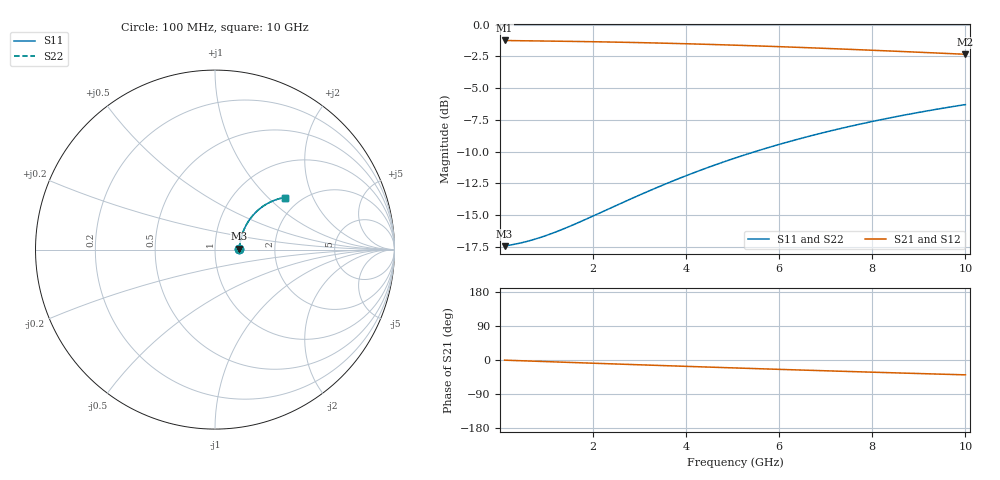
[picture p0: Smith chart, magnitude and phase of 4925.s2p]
# Hz S RI R 50.00
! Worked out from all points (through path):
!   100 points, 100 MHz to 10 GHz, reference 50 ohm
!   highest |S21| = -1.25 dB at 100 MHz (marker M1); lowest = -2.3 dB at 10 GHz (marker M2)
!   group delay of S21, straight-line fit = 10.9 ps
!   lowest |S11| = -17.4 dB at 100 MHz (marker M3), VSWR 1.31, Z = 65.5 + j0.609 ohm
!   |S11| at or under -10 dB: start of sweep to 5.481 GHz
!   |S22| runs from -17.4 to -6.3 dB; largest |S21 - S12| = 0
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1e8  0.1342 0.00457  0.8658 -0.00646  0.8658 -0.00646  0.1342 0.00457
5e8  0.1371 0.0227  0.8628 -0.0321  0.8628 -0.0321  0.1371 0.0227
7e8  0.1386 0.0317  0.8613 -0.0449  0.8613 -0.0449  0.1386 0.0317
9e8  0.1402 0.0406  0.8596 -0.0576  0.8596 -0.0576  0.1402 0.0406
1.1e9  0.142 0.0494  0.8578 -0.0702  0.8578 -0.0702  0.142 0.0494
1.3e9  0.144 0.0582  0.8557 -0.0828  0.8557 -0.0828  0.144 0.0582
1.8e9  0.1499 0.0799  0.8495 -0.1139  0.8495 -0.1139  0.1499 0.0799
2.6e9  0.1623 0.1132  0.8364 -0.1624  0.8364 -0.1624  0.1623 0.1132
3.4e9  0.1782 0.1445  0.8195 -0.2089  0.8195 -0.2089  0.1782 0.1445
3.8e9  0.1873 0.1593  0.8098 -0.2313  0.8098 -0.2313  0.1873 0.1593
4.2e9  0.1972 0.1734  0.7993 -0.253  0.7993 -0.253  0.1972 0.1734
4.6e9  0.2078 0.1867  0.7881 -0.274  0.7881 -0.274  0.2078 0.1867
5.1e9  0.2219 0.2024  0.7731 -0.2993  0.7731 -0.2993  0.2219 0.2024
5.5e9  0.2338 0.2141  0.7604 -0.3186  0.7604 -0.3186  0.2338 0.2141
5.9e9  0.2461 0.225  0.7471 -0.3372  0.7471 -0.3372  0.2461 0.225
6.3e9  0.2589 0.2351  0.7333 -0.355  0.7333 -0.355  0.2589 0.2351
6.7e9  0.2721 0.2444  0.7191 -0.372  0.7191 -0.372  0.2721 0.2444
7.5e9  0.2993 0.2605  0.6896 -0.4036  0.6896 -0.4036  0.2993 0.2605
7.9e9  0.3133 0.2673  0.6745 -0.4182  0.6745 -0.4182  0.3133 0.2673
8.4e9  0.3309 0.2747  0.6552 -0.4353  0.6552 -0.4353  0.3309 0.2747
9.2e9  0.3593 0.284  0.6239 -0.4602  0.6239 -0.4602  0.3593 0.284
1e10  0.3877 0.2902  0.5924 -0.4823  0.5924 -0.4823  0.3877 0.2902
